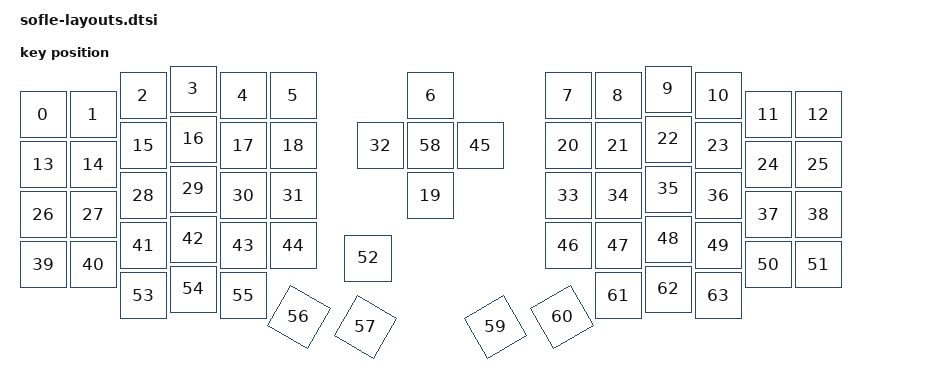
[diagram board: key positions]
/*
 * Physical layout for ZMK Studio, generated from config/sofle.json
 * (key order is identical to the matrix transform in sofle.dtsi).
 * Units: w/h/x/y/rx/ry in 1/100 key, rot in 1/100 degree.
 */

#include <physical_layouts.dtsi>

/ {
    physical_layout0: physical_layout_0 {
        compatible = "zmk,physical-layout";
        display-name = "Default";

        keys  //                     w   h    x    y     rot    rx    ry
            = <&key_physical_attrs 100 100   150   63       0     0     0>  // R0C0
            , <&key_physical_attrs 100 100   250   63       0     0     0>  // R0C1
            , <&key_physical_attrs 100 100   350   25       0     0     0>  // R0C2
            , <&key_physical_attrs 100 100   450   12       0     0     0>  // R0C3
            , <&key_physical_attrs 100 100   550   25       0     0     0>  // R0C4
            , <&key_physical_attrs 100 100   650   25       0     0     0>  // R0C5
            , <&key_physical_attrs 100 100   925   25       0     0     0>  // R0C7
            , <&key_physical_attrs 100 100  1200   25       0     0     0>  // R0C8
            , <&key_physical_attrs 100 100  1300   25       0     0     0>  // R0C9
            , <&key_physical_attrs 100 100  1400   12       0     0     0>  // R0C10
            , <&key_physical_attrs 100 100  1500   25       0     0     0>  // R0C11
            , <&key_physical_attrs 100 100  1600   63       0     0     0>  // R0C12
            , <&key_physical_attrs 100 100  1700   63       0     0     0>  // R0C13
            , <&key_physical_attrs 100 100   150  163       0     0     0>  // R1C0
            , <&key_physical_attrs 100 100   250  163       0     0     0>  // R1C1
            , <&key_physical_attrs 100 100   350  125       0     0     0>  // R1C2
            , <&key_physical_attrs 100 100   450  112       0     0     0>  // R1C3
            , <&key_physical_attrs 100 100   550  125       0     0     0>  // R1C4
            , <&key_physical_attrs 100 100   650  125       0     0     0>  // R1C5
            , <&key_physical_attrs 100 100   925  225       0     0     0>  // R1C7
            , <&key_physical_attrs 100 100  1200  125       0     0     0>  // R1C8
            , <&key_physical_attrs 100 100  1300  125       0     0     0>  // R1C9
            , <&key_physical_attrs 100 100  1400  112       0     0     0>  // R1C10
            , <&key_physical_attrs 100 100  1500  125       0     0     0>  // R1C11
            , <&key_physical_attrs 100 100  1600  163       0     0     0>  // R1C12
            , <&key_physical_attrs 100 100  1700  163       0     0     0>  // R1C13
            , <&key_physical_attrs 100 100   150  263       0     0     0>  // R2C0
            , <&key_physical_attrs 100 100   250  263       0     0     0>  // R2C1
            , <&key_physical_attrs 100 100   350  225       0     0     0>  // R2C2
            , <&key_physical_attrs 100 100   450  212       0     0     0>  // R2C3
            , <&key_physical_attrs 100 100   550  225       0     0     0>  // R2C4
            , <&key_physical_attrs 100 100   650  225       0     0     0>  // R2C5
            , <&key_physical_attrs 100 100   825  125       0     0     0>  // R2C7
            , <&key_physical_attrs 100 100  1200  225       0     0     0>  // R2C8
            , <&key_physical_attrs 100 100  1300  225       0     0     0>  // R2C9
            , <&key_physical_attrs 100 100  1400  212       0     0     0>  // R2C10
            , <&key_physical_attrs 100 100  1500  225       0     0     0>  // R2C11
            , <&key_physical_attrs 100 100  1600  263       0     0     0>  // R2C12
            , <&key_physical_attrs 100 100  1700  263       0     0     0>  // R2C13
            , <&key_physical_attrs 100 100   150  363       0     0     0>  // R3C0
            , <&key_physical_attrs 100 100   250  363       0     0     0>  // R3C1
            , <&key_physical_attrs 100 100   350  325       0     0     0>  // R3C2
            , <&key_physical_attrs 100 100   450  312       0     0     0>  // R3C3
            , <&key_physical_attrs 100 100   550  325       0     0     0>  // R3C4
            , <&key_physical_attrs 100 100   650  325       0     0     0>  // R3C5
            , <&key_physical_attrs 100 100  1025  125       0     0     0>  // R3C7
            , <&key_physical_attrs 100 100  1200  325       0     0     0>  // R3C8
            , <&key_physical_attrs 100 100  1300  325       0     0     0>  // R3C9
            , <&key_physical_attrs 100 100  1400  312       0     0     0>  // R3C10
            , <&key_physical_attrs 100 100  1500  325       0     0     0>  // R3C11
            , <&key_physical_attrs 100 100  1600  363       0     0     0>  // R3C12
            , <&key_physical_attrs 100 100  1700  363       0     0     0>  // R3C13
            , <&key_physical_attrs 100 100   800  350       0     0     0>  // R4C0
            , <&key_physical_attrs 100 100   350  425       0     0     0>  // R4C1
            , <&key_physical_attrs 100 100   450  412       0     0     0>  // R4C2
            , <&key_physical_attrs 100 100   550  425       0     0     0>  // R4C3
            , <&key_physical_attrs 100 100   700  425    3000   650   425>  // R4C4
            , <&key_physical_attrs 100 100   825  375    3000   650   425>  // R4C5
            , <&key_physical_attrs 100 100   925  125       0     0     0>  // R4C7
            , <&key_physical_attrs 100 100  1025  375 (-3000)  1300   425>  // R4C8
            , <&key_physical_attrs 100 100  1150  425 (-3000)  1300   425>  // R4C9
            , <&key_physical_attrs 100 100  1300  425       0     0     0>  // R4C10
            , <&key_physical_attrs 100 100  1400  412       0     0     0>  // R4C11
            , <&key_physical_attrs 100 100  1500  425       0     0     0>  // R4C12
            ;
    };
};
